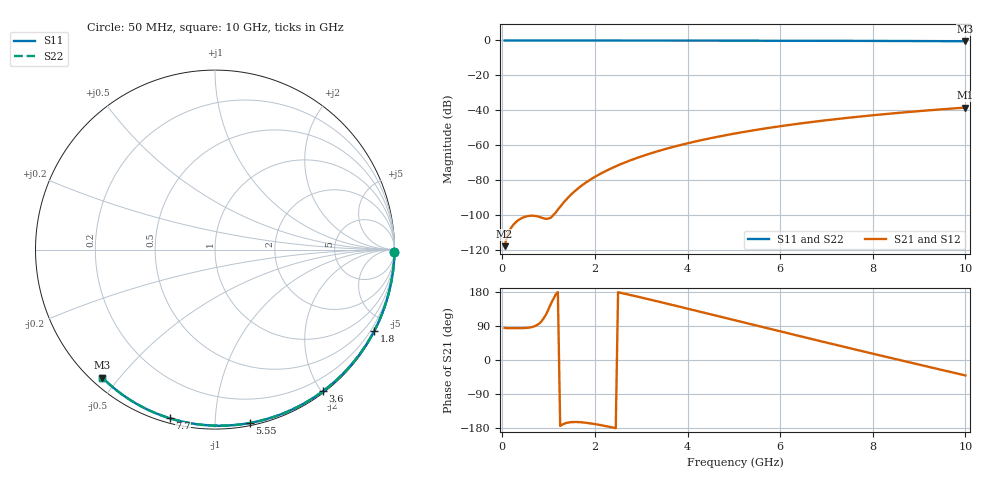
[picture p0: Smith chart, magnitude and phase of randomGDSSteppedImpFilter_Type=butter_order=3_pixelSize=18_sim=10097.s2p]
! freq	dB(S11)	phase(S11)	dB(S12)	phase(S12)
!  dB(S21)	phase(S21)	dB(S22)	phase(S22)
!S-par simulation data
#  GHz  S  DB  R 50
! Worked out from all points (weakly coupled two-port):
!   200 points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, 50 MHz to 10 GHz, reference 50 ohm
!   highest |S21| = -38.41 dB at 10 GHz (marker M1); lowest = -117.7 dB at 50 MHz (marker M2)
!   lowest |S11| = -0.4 dB at 10 GHz (marker M3), VSWR 39.10, Z = 1.54 - j22.6 ohm
!   |S11| at or under -10 dB: nowhere
!   |S22| runs from -0.4 to 0.0 dB; largest |S21 - S12| = 0
!   S11 on the Smith chart (normalised r, x): 50 MHz: open; 1.8 GHz: 0.04, -4.18; 3.6 GHz: 0.02, -2.02; 5.55 GHz: 0.02, -1.22; 7.7 GHz: 0.02, -0.77; 10 GHz: 0.03, -0.45
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0.05  -0.00 -0.8  -117.73 84.9  -117.73 84.9  -0.00 -0.8
0.9  -0.02 -13.6  -101.84 111.3  -101.84 111.3  -0.02 -13.6
1.75  -0.03 -26.2  -82.35 -164.8  -82.35 -164.8  -0.03 -26.2
1.8  -0.03 -26.9  -81.41 -165.5  -81.41 -165.5  -0.03 -26.9
1.85  -0.04 -27.7  -80.52 -166.3  -80.52 -166.3  -0.04 -27.7
1.9  -0.04 -28.4  -79.67 -167.2  -79.67 -167.2  -0.04 -28.4
2.05  -0.04 -30.6  -77.29 -170.2  -77.29 -170.2  -0.04 -30.6
2.25  -0.04 -33.5  -74.49 -174.8  -74.49 -174.8  -0.04 -33.5
2.45  -0.05 -36.4  -72.01 -179.9  -72.01 -179.9  -0.05 -36.4
2.65  -0.05 -39.3  -69.79 174.8  -69.79 174.8  -0.05 -39.3
3  -0.06 -44.2  -66.38 165.0  -66.38 165.0  -0.06 -44.2
3.4  -0.07 -49.9  -63.04 153.3  -63.04 153.3  -0.07 -49.9
3.6  -0.07 -52.7  -61.55 147.4  -61.55 147.4  -0.07 -52.6
4.3  -0.09 -62.2  -57.04 126.5  -57.04 126.5  -0.09 -62.2
5.05  -0.11 -72.2  -53.12 104.0  -53.12 104.0  -0.11 -72.2
5.55  -0.13 -78.6  -50.88 89.0  -50.88 89.0  -0.13 -78.6
6.1  -0.15 -85.6  -48.70 72.6  -48.70 72.6  -0.15 -85.6
6.7  -0.18 -93.0  -46.60 54.8  -46.60 54.8  -0.18 -93.0
7.7  -0.24 -105.0  -43.60 25.4  -43.60 25.4  -0.24 -105.0
8.35  -0.29 -112.6  -41.93 6.5  -41.93 6.5  -0.29 -112.6
9.15  -0.36 -121.8  -40.11 -16.5  -40.11 -16.5  -0.36 -121.8
10  -0.44 -131.4  -38.41 -40.8  -38.41 -40.8  -0.44 -131.4
